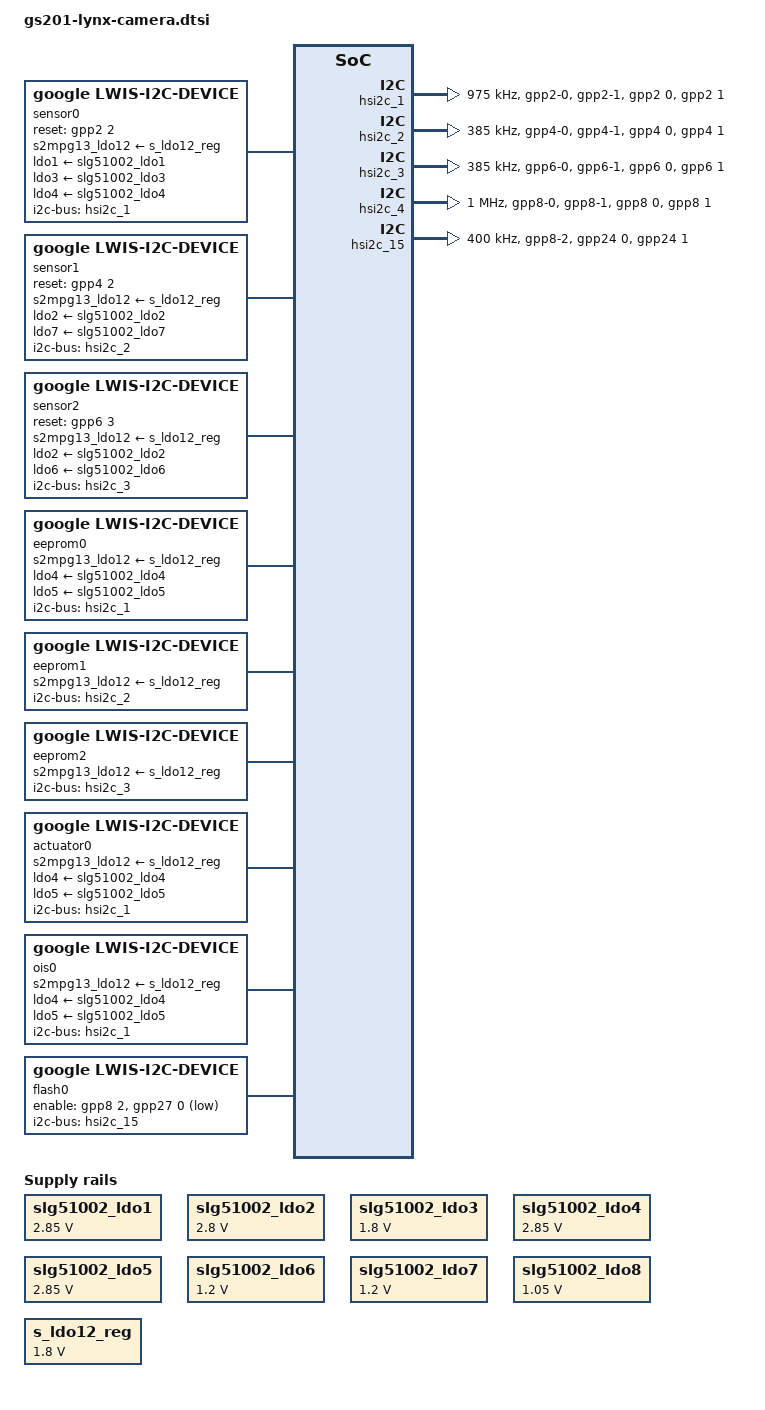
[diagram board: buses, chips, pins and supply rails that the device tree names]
// SPDX-License-Identifier: GPL-2.0-only
/*
 * gs201 camera lwis device tree for lynx
 *
 * Copyright 2021 Google LLC.
 *
 */

#include <dt-bindings/clock/gs201.h>
#include <dt-bindings/gpio/gpio.h>
#include <arm64/exynos/exynos-pinctrl.h>

&slg51002_ldo1 {
	regulator-min-microvolt = <2850000>;
	regulator-max-microvolt = <2850000>;
};

&slg51002_ldo2 {
	regulator-min-microvolt = <2800000>;
	regulator-max-microvolt = <2800000>;
};

&slg51002_ldo3 {
	regulator-min-microvolt = <1800000>;
	regulator-max-microvolt = <1800000>;
};

&slg51002_ldo4 {
	regulator-min-microvolt = <2850000>;
	regulator-max-microvolt = <2850000>;
};

&slg51002_ldo5 {
	regulator-min-microvolt = <2850000>;
	regulator-max-microvolt = <2850000>;
};

&slg51002_ldo6 {
	regulator-min-microvolt = <1200000>;
	regulator-max-microvolt = <1200000>;
};

&slg51002_ldo7 {
	regulator-min-microvolt = <1200000>;
	regulator-max-microvolt = <1200000>;
};

&slg51002_ldo8 {
	regulator-min-microvolt = <1050000>;
	regulator-max-microvolt = <1050000>;
};

&s_ldo12_reg {
	regulator-min-microvolt = <1800000>;
	regulator-max-microvolt = <1800000>;
};

&pinctrl_4 {
	hsi2c1_bus: hsi2c1-bus {
		samsung,pin-pud = <EXYNOS_PIN_PULL_UP>;
	};

	hsi2c1_bus_in: hsi2c1-bus-in {
		samsung,pins = "gpp2-0", "gpp2-1";
		samsung,pin-function = <EXYNOS_PIN_FUNC_INPUT>;
		samsung,pin-pud = <EXYNOS_PIN_PULL_NONE>;
		samsung,pin-drv = <GS101_PIN_DRV_2_5_MA>;
	};

	hsi2c2_bus: hsi2c2-bus {
		samsung,pin-pud = <EXYNOS_PIN_PULL_UP>;
	};

	hsi2c2_bus_in: hsi2c2-bus-in {
		samsung,pins = "gpp4-0", "gpp4-1";
		samsung,pin-function = <EXYNOS_PIN_FUNC_INPUT>;
		samsung,pin-pud = <EXYNOS_PIN_PULL_NONE>;
		samsung,pin-drv = <GS101_PIN_DRV_2_5_MA>;
	};

	hsi2c3_bus: hsi2c3-bus {
		samsung,pin-pud = <EXYNOS_PIN_PULL_UP>;
	};

	hsi2c3_bus_in: hsi2c3-bus-in {
		samsung,pins = "gpp6-0", "gpp6-1";
		samsung,pin-function = <EXYNOS_PIN_FUNC_INPUT>;
		samsung,pin-pud = <EXYNOS_PIN_PULL_NONE>;
		samsung,pin-drv = <GS101_PIN_DRV_2_5_MA>;
	};

	hsi2c4_bus: hsi2c4-bus {
		samsung,pin-pud = <EXYNOS_PIN_PULL_UP>;
	};

	hsi2c4_bus_in: hsi2c4-bus-in {
		samsung,pins = "gpp8-0", "gpp8-1";
		samsung,pin-function = <EXYNOS_PIN_FUNC_INPUT>;
		samsung,pin-pud = <EXYNOS_PIN_PULL_NONE>;
		samsung,pin-drv = <GS101_PIN_DRV_2_5_MA>;
	};

	/* GPP8[2] Flashlight Enable */
	flash_en: flash-en {
		samsung,pins = "gpp8-2";
		samsung,pin-function = <EXYNOS_PIN_FUNC_INPUT>;
		samsung,pin-pud = <EXYNOS_PIN_PULL_NONE>;
		samsung,pin-con-pdn = <EXYNOS_PIN_PDN_PREV>;
		samsung,pin-pud-pdn = <EXYNOS_PIN_PULL_NONE>;
	};

	sensor_mclk1_out: sensor-mclk1-out {
		samsung,pin-drv = <GS101_PIN_DRV_5_MA>;
	};
	sensor_mclk1_fn: sensor-mclk1-fn {
		samsung,pin-drv = <GS101_PIN_DRV_5_MA>;
	};
	sensor_mclk2_out: sensor-mclk2-out {
		samsung,pin-drv = <GS101_PIN_DRV_5_MA>;
	};
	sensor_mclk2_fn: sensor-mclk2-fn {
		samsung,pin-drv = <GS101_PIN_DRV_5_MA>;
	};
	sensor_mclk4_out: sensor-mclk4-out {
		samsung,pin-drv = <GS101_PIN_DRV_5_MA>;
	};
	sensor_mclk4_fn: sensor-mclk4-fn {
		samsung,pin-drv = <GS101_PIN_DRV_5_MA>;
	};
};

&hsi2c_1 {
	#address-cells = <1>;
	#size-cells = <0>;
	gpios = <&gpp2 0 GPIO_ACTIVE_HIGH &gpp2 1 GPIO_ACTIVE_HIGH>;
	status = "okay";
	clock-frequency = <975000>;
	samsung,reset-before-trans;

	pinctrl-names = "default","on_i2c","off_i2c";
	pinctrl-0 = <&hsi2c1_bus_in>;
	pinctrl-1 = <&hsi2c1_bus>;
	pinctrl-2 = <&hsi2c1_bus_in>;
};

&hsi2c_2 {
	#address-cells = <1>;
	#size-cells = <0>;
	gpios = <&gpp4 0 GPIO_ACTIVE_HIGH &gpp4 1 GPIO_ACTIVE_HIGH>;
	status = "okay";
	clock-frequency = <385000>;
	samsung,reset-before-trans;

	pinctrl-names = "default","on_i2c","off_i2c";
	pinctrl-0 = <&hsi2c2_bus_in>;
	pinctrl-1 = <&hsi2c2_bus>;
	pinctrl-2 = <&hsi2c2_bus_in>;
};

&hsi2c_3 {
	#address-cells = <1>;
	#size-cells = <0>;
	gpios = <&gpp6 0 GPIO_ACTIVE_HIGH &gpp6 1 GPIO_ACTIVE_HIGH>;
	status = "okay";
	clock-frequency = <385000>;
	samsung,reset-before-trans;

	pinctrl-names = "default","on_i2c","off_i2c";
	pinctrl-0 = <&hsi2c3_bus_in>;
	pinctrl-1 = <&hsi2c3_bus>;
	pinctrl-2 = <&hsi2c3_bus_in>;
};

&hsi2c_4 {
	#address-cells = <1>;
	#size-cells = <0>;
	gpios = <&gpp8 0 GPIO_ACTIVE_HIGH &gpp8 1 GPIO_ACTIVE_HIGH>;
	status = "okay";
	clock-frequency = <1000000>;
	samsung,reset-before-trans;

	pinctrl-names = "default","on_i2c","off_i2c";
	pinctrl-0 = <&hsi2c4_bus_in>;
	pinctrl-1 = <&hsi2c4_bus>;
	pinctrl-2 = <&hsi2c4_bus_in>;
};

&hsi2c_15 {
	#address-cells = <1>;
	#size-cells = <0>;
	gpios = <&gpp24 0 GPIO_ACTIVE_HIGH &gpp24 1 GPIO_ACTIVE_HIGH>;
	status = "okay";
	clock-frequency = <400000>;

	pinctrl-names = "default","on_i2c","off_i2c";
	pinctrl-0 = <&hsi2c15_bus &flash_en>;
	pinctrl-1 = <&hsi2c15_bus>;
	pinctrl-2 = <&hsi2c15_bus>;
};
/ {
	fragment@lwiscamera {
		target-path = "/";
		__overlay__ {
			/* REAR CAMERA IMX787 */
			sensor0: sensor@0 {
				compatible = "google,lwis-i2c-device";

				/* Device node name */
				node-name = "sensor-imx787";

				/* I2C */
				i2c-bus = <&hsi2c_1>;
				i2c-addr = <0x1A>;

				/* Registers */
				reg-addr-bitwidth = <16>;
				reg-value-bitwidth = <8>;

				/* GPIOs */
				/* CSID_RST_L GPP2[2] */
				reset-gpios = <&gpp2 2 GPIO_ACTIVE_HIGH>;

				/* Power supplies */
				s2mpg13_ldo12-supply = <&s_ldo12_reg>;
				ldo1-supply = <&slg51002_ldo1>;
				ldo3-supply = <&slg51002_ldo3>;
				ldo4-supply = <&slg51002_ldo4>;
				ldo5-supply = <&slg51002_ldo5>;
				ldo8-supply = <&slg51002_ldo8>;

				clocks =
					<&clock CIS_CLK3>,
					<&clock GATE_DFTMUX_CMU_CIS_CLK3>;
				clock-names =
					"CIS_CLK3",
					"GATE_DFTMUX_CMU_CIS_CLK3";
				clock-rates =
					<24000000>,
					<0>;

				/* MCLK Control */
				pinctrl-names = "mclk_on", "mclk_off";
				pinctrl-0 = <&sensor_mclk4_fn>;
				pinctrl-1 = <&sensor_mclk4_out>;

				/* Power up sequence */
				power-up-seqs =
					"s2mpg13_ldo12",
					"ldo5",
					"ldo4",
					"ldo1",
					"ldo3",
					"ldo8",
					"reset",
					"mclk_on";
				power-up-seq-types =
					"regulator",
					"regulator",
					"regulator",
					"regulator",
					"regulator",
					"regulator",
					"gpio",
					"pinctrl";
				power-up-seq-delays-us =
					<1000
					 1000
					 0
					 1000
					 1000
					 1000
					 1000
					 1000>;

				/* Power down sequence */
				power-down-seqs =
					"mclk_off",
					"reset",
					"ldo8",
					"ldo3",
					"ldo1",
					"ldo4",
					"ldo5",
					"s2mpg13_ldo12";
				power-down-seq-types =
					"pinctrl",
					"gpio",
					"regulator",
					"regulator",
					"regulator",
					"regulator",
					"regulator",
					"regulator";
				power-down-seq-delays-us =
					<1000
					 1000
					 1000
					 1000
					 1000
					 1000
					 1000
					 1000>;
				transaction-thread-priority = <99>;

				i2c-lock-group-id = <0>;
			};

			/* FRONT CAMERA IMX712 */
			sensor1: sensor@1 {
				compatible = "google,lwis-i2c-device";

				/* Device node name */
				node-name = "sensor-imx712";

				/* I2C */
				i2c-bus = <&hsi2c_2>;
				i2c-addr = <0x1A>;

				/* Registers */
				reg-addr-bitwidth = <16>;
				reg-value-bitwidth = <8>;

				/* GPIOs */
				reset-gpios = <&gpp4 2 GPIO_ACTIVE_HIGH>;

				/* Power supplies */
				s2mpg13_ldo12-supply = <&s_ldo12_reg>;
				ldo2-supply = <&slg51002_ldo2>;
				ldo7-supply = <&slg51002_ldo7>;

				clocks =
					<&clock CIS_CLK1>,
					<&clock GATE_DFTMUX_CMU_CIS_CLK1>;
				clock-names =
					"CIS_CLK1",
					"GATE_DFTMUX_CMU_CIS_CLK1";
				clock-rates =
					<24000000>,
					<0>;

				/* MCLK Control */
				pinctrl-names = "mclk_on", "mclk_off";
				pinctrl-0 = <&sensor_mclk2_fn>;
				pinctrl-1 = <&sensor_mclk2_out>;

				/* Power up sequence */
				power-up-seqs =
					"s2mpg13_ldo12",
					"ldo2",
					"ldo7",
					"reset",
					"mclk_on";
				power-up-seq-types =
					"regulator",
					"regulator",
					"regulator",
					"gpio",
					"pinctrl";
				power-up-seq-delays-us =
					<1000
					 1000
					 1000
					 1000
					 1000>;

				/* Power down sequence */
				power-down-seqs =
					"mclk_off",
					"reset",
					"ldo7",
					"ldo2",
					"s2mpg13_ldo12";
				power-down-seq-types =
					"pinctrl",
					"gpio",
					"regulator",
					"regulator",
					"regulator";
				power-down-seq-delays-us =
					<1000
					 1000
					 1000
					 1000
					 1000>;
				transaction-thread-priority = <99>;

				i2c-lock-group-id = <1>;
			};

			/* REAR ULTRA WIDE CAMERA IMX712 */
			sensor2: sensor@2 {
				compatible = "google,lwis-i2c-device";

				/* Device node name */
				node-name = "sensor-imx712-uw";

				/* I2C */
				i2c-bus = <&hsi2c_3>;
				i2c-addr = <0x1A>;

				/* Registers */
				reg-addr-bitwidth = <16>;
				reg-value-bitwidth = <8>;

				/* GPIOs */
				reset-gpios = <&gpp6 3 GPIO_ACTIVE_HIGH>;

				/* Power supplies */
				s2mpg13_ldo12-supply = <&s_ldo12_reg>;
				ldo2-supply = <&slg51002_ldo2>;
				ldo6-supply = <&slg51002_ldo6>;

				clocks =
					<&clock CIS_CLK0>,
					<&clock GATE_DFTMUX_CMU_CIS_CLK0>;
				clock-names =
					"CIS_CLK0",
					"GATE_DFTMUX_CMU_CIS_CLK0";
				clock-rates =
					<24000000>,
					<0>;

				/* MCLK Control */
				pinctrl-names = "mclk_on", "mclk_off";
				pinctrl-0 = <&sensor_mclk1_fn>;
				pinctrl-1 = <&sensor_mclk1_out>;

				/* Power up sequence */
				power-up-seqs =
					"s2mpg13_ldo12",
					"ldo2",
					"ldo6",
					"reset",
					"mclk_on";
				power-up-seq-types =
					"regulator",
					"regulator",
					"regulator",
					"gpio",
					"pinctrl";
				power-up-seq-delays-us =
					<1000
					 1000
					 1000
					 1000
					 10000>;

				/* Power down sequence */
				power-down-seqs =
					"mclk_off",
					"reset",
					"ldo6",
					"ldo2",
					"s2mpg13_ldo12";
				power-down-seq-types =
					"pinctrl",
					"gpio",
					"regulator",
					"regulator",
					"regulator";
				power-down-seq-delays-us =
					<1000
					 1000
					 1000
					 1000
					 1000>;
				transaction-thread-priority = <99>;

				i2c-lock-group-id = <2>;
			};

			/* Eeprom lc898129 for imx787 */
			eeprom0: eeprom@0 {
				compatible = "google,lwis-i2c-device";

				/* Device node name */
				node-name = "eeprom-lc898129";

				/* I2C */
				i2c-bus = <&hsi2c_1>;
				i2c-addr = <0x24>;

				/* Registers */
				reg-addr-bitwidth = <16>;
				reg-value-bitwidth = <32>;

				/* Power supplies */
				s2mpg13_ldo12-supply = <&s_ldo12_reg>;
				ldo4-supply = <&slg51002_ldo4>;
				ldo5-supply = <&slg51002_ldo5>;

				/* Power up sequence */
				power-up-seqs =
					"s2mpg13_ldo12",
					"ldo5",
					"ldo4";
				power-up-seq-types =
					"regulator",
					"regulator",
					"regulator";
				power-up-seq-delays-us =
					<1000
					 1000
					 1000>;

				/* Power down sequence */
				power-down-seqs =
					"ldo4",
					"ldo5",
					"s2mpg13_ldo12";
				power-down-seq-types =
					"regulator",
					"regulator",
					"regulator";
				power-down-seq-delays-us =
					<1000
					 1000
					 1000>;

				i2c-lock-group-id = <0>;
			};

			/* Eeprom m24c64x for imx712 */
			eeprom1: eeprom@1 {
				compatible = "google,lwis-i2c-device";

				/* Device node name */
				node-name = "eeprom-m24c64x-imx712";

				/* I2C */
				i2c-bus = <&hsi2c_2>;
				i2c-addr = <0x50>;

				/* Registers */
				reg-addr-bitwidth = <16>;
				reg-value-bitwidth = <8>;

				/* Power supplies */
				s2mpg13_ldo12-supply = <&s_ldo12_reg>;

				/* Power up sequence */
				power-up-seqs =
					"s2mpg13_ldo12";
				power-up-seq-types =
					"regulator";
				power-up-seq-delays-us =
					<1000>;

				/* Power down sequence */
				power-down-seqs =
					"s2mpg13_ldo12";
				power-down-seq-types =
					"regulator";
				power-down-seq-delays-us =
					<1000>;

				i2c-lock-group-id = <1>;
			};

			/* Eeprom m24c64x for imx712-uw */
			eeprom2: eeprom@2 {
				compatible = "google,lwis-i2c-device";

				/* Device node name */
				node-name = "eeprom-m24c64x-imx712-uw";

				/* I2C */
				i2c-bus = <&hsi2c_3>;
				i2c-addr = <0x50>;

				/* Registers */
				reg-addr-bitwidth = <16>;
				reg-value-bitwidth = <8>;

				/* Power supplies */
				s2mpg13_ldo12-supply = <&s_ldo12_reg>;

				/* Power up sequence */
				power-up-seqs =
					"s2mpg13_ldo12";
				power-up-seq-types =
					"regulator";
				power-up-seq-delays-us =
					<1000>;

				/* Power down sequence */
				power-down-seqs =
					"s2mpg13_ldo12";
				power-down-seq-types =
					"regulator";
				power-down-seq-delays-us =
					<1000>;

				i2c-lock-group-id = <2>;
			};

			/* Actuator lc898129 for imx787 */
			actuator0: actuator@0 {
				compatible = "google,lwis-i2c-device";

				/* Device node name */
				node-name = "act-lc898129";

				/* I2C */
				i2c-bus = <&hsi2c_1>;
				i2c-addr = <0x24>;

				/* Registers */
				reg-addr-bitwidth = <16>;
				reg-value-bitwidth = <32>;

				/* Power supplies */
				s2mpg13_ldo12-supply = <&s_ldo12_reg>;
				ldo4-supply = <&slg51002_ldo4>;
				ldo5-supply = <&slg51002_ldo5>;

				/* Power up sequence */
				power-up-seqs =
					"s2mpg13_ldo12",
					"ldo5",
					"ldo4";
				power-up-seq-types =
					"regulator",
					"regulator",
					"regulator";
				power-up-seq-delays-us =
					<1000
					 1000
					 1000>;

				/* Power down sequence */
				power-down-seqs =
					"ldo4",
					"ldo5",
					"s2mpg13_ldo12";
				power-down-seq-types =
					"regulator",
					"regulator",
					"regulator";
				power-down-seq-delays-us =
					<1000
					 1000
					 1000>;
				/* Thread priority */
				transaction-thread-priority = <99>;

				i2c-lock-group-id = <0>;
			};

			/* Ois lc898129 for imx787 */
			ois0: ois@0 {
				compatible = "google,lwis-i2c-device";

				/* Device node name */
				node-name = "ois-lc898129";

				/* I2C */
				i2c-bus = <&hsi2c_1>;
				i2c-addr = <0x24>;

				/* Registers */
				reg-addr-bitwidth = <16>;
				reg-value-bitwidth = <32>;

				/* Power supplies */
				s2mpg13_ldo12-supply = <&s_ldo12_reg>;
				ldo4-supply = <&slg51002_ldo4>;
				ldo5-supply = <&slg51002_ldo5>;

				/* Power up sequence */
				power-up-seqs =
					"s2mpg13_ldo12",
					"ldo5",
					"ldo4";
				power-up-seq-types =
					"regulator",
					"regulator",
					"regulator";
				power-up-seq-delays-us =
					<1000
					 1000
					 1000>;

				/* Power down sequence */
				power-down-seqs =
					"ldo4",
					"ldo5",
					"s2mpg13_ldo12";
				power-down-seq-types =
					"regulator",
					"regulator",
					"regulator";
				power-down-seq-delays-us =
					<1000
					 1000
					 1000>;
				/* Thread priority */
				transaction-thread-priority = <99>;

				i2c-lock-group-id = <0>;
			};

			flash0: flash@0 {
				compatible = "google,lwis-i2c-device";

				/* Device node name */
				node-name = "flash-lm3644";

				/* I2C */
				i2c-bus = <&hsi2c_15>;
				i2c-addr = <0x63>;

				/* Registers */
				reg-addr-bitwidth = <8>;
				reg-value-bitwidth = <8>;

				/* Power Management hibernation (deep sleep) */
				/* 1 : enable, 0 : disable */
				pm-hibernation = <0>;

				/* GPIOs */
				/* HW_ENABLE GPP8[2] */
				/* FLASH_STROBE GPP27[0] */
				enable-gpios =
					<&gpp8 2 GPIO_ACTIVE_HIGH
					 &gpp27 0 GPIO_ACTIVE_LOW>;
			};
		};
	};
};
